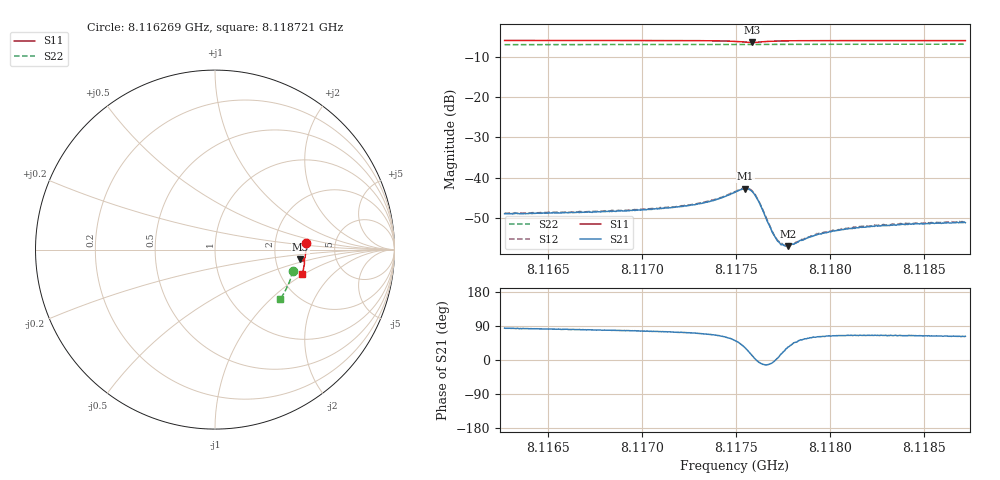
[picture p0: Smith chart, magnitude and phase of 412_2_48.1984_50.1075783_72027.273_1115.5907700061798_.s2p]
#  HZ  S  RI  R  50.00
! Rohde & Schwarz Vector Network Analyzer
! Rohde-Schwarz,ZNB20-2Port,1311601062101988,3.16
! Created: UTC 3/20/2024, 11:54:34 AM
! freq[Hz]  re:S11  im:S11  re:S21  im:S21  re:S12  im:S12  re:S22  im:S22
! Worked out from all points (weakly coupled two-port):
!   401 points, 8.116269 GHz to 8.118721 GHz, reference 50 ohm
!   highest |S21| = -42.75 dB at 8.11755 GHz (marker M1); lowest = -57.0 dB at 8.117777 GHz (marker M2)
!   lowest |S11| = -6.4 dB at 8.117587 GHz (marker M3), VSWR 2.84, Z = 139 - j19.1 ohm
!   |S11| at or under -10 dB: nowhere
!   |S22| runs from -6.9 to -6.8 dB; largest |S21 - S12| = 0.00021
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8.116269e9  0.5056 0.0384  0.000363 0.00353  0.000418 0.00357  0.4332 -0.1194
8.1166797e9  0.5064 0.0072  0.000648 0.00363  0.000722 0.0037  0.4259 -0.147
8.1170905e9  0.5049 -0.0249  0.00106 0.00395  0.00107 0.004  0.4168 -0.1741
8.1171885e9  0.5039 -0.033  0.00124 0.00413  0.00129 0.00421  0.4142 -0.1805
8.1173234e9  0.5016 -0.0451  0.0017 0.00451  0.00177 0.00458  0.4107 -0.1893
8.1174154e9  0.498 -0.0543  0.00245 0.00494  0.00252 0.00502  0.4081 -0.1954
8.1174951e9  0.4902 -0.0623  0.0041 0.00513  0.00422 0.0052  0.4055 -0.2005
8.1175502e9  0.4791 -0.0617  0.0062 0.00382  0.00636 0.00385  0.4035 -0.2037
8.1175686e9  0.4764 -0.0581  0.00665 0.00266  0.00683 0.00266  0.4027 -0.2045
8.117587e9  0.4757 -0.053  0.00656 0.00131  0.0067 0.00128  0.4024 -0.2054
8.1176054e9  0.4779 -0.0486  0.00584 0.000128  0.00601 9.06e-05  0.4019 -0.2063
8.1176238e9  0.4819 -0.0462  0.00486 -0.000558  0.00496 -0.000593  0.4018 -0.2073
8.1176851e9  0.4932 -0.0497  0.00231 -0.000392  0.00232 -0.000404  0.4005 -0.2115
8.1177096e9  0.4956 -0.0526  0.00181 -2.31e-05  0.00182 -6.21e-05  0.3997 -0.213
8.117728e9  0.4966 -0.055  0.00157 0.000224  0.0016 0.000239  0.3994 -0.2143
8.1177464e9  0.4974 -0.0574  0.0014 0.000458  0.00145 0.000429  0.3987 -0.2156
8.1177771e9  0.4982 -0.0609  0.00117 0.000796  0.00122 0.000794  0.3979 -0.2174
8.1179058e9  0.4986 -0.0739  0.000948 0.0016  0.000963 0.0016  0.3939 -0.2256
8.1179549e9  0.4983 -0.0782  0.000946 0.00175  0.000965 0.00181  0.3922 -0.2286
8.1180713e9  0.4971 -0.088  0.000972 0.00204  0.00101 0.00212  0.3883 -0.2359
8.1183166e9  0.4934 -0.1071  0.00109 0.00228  0.00114 0.00236  0.3797 -0.2508
8.1187212e9  0.4857 -0.137  0.00127 0.00244  0.00133 0.00248  0.3643 -0.2747
